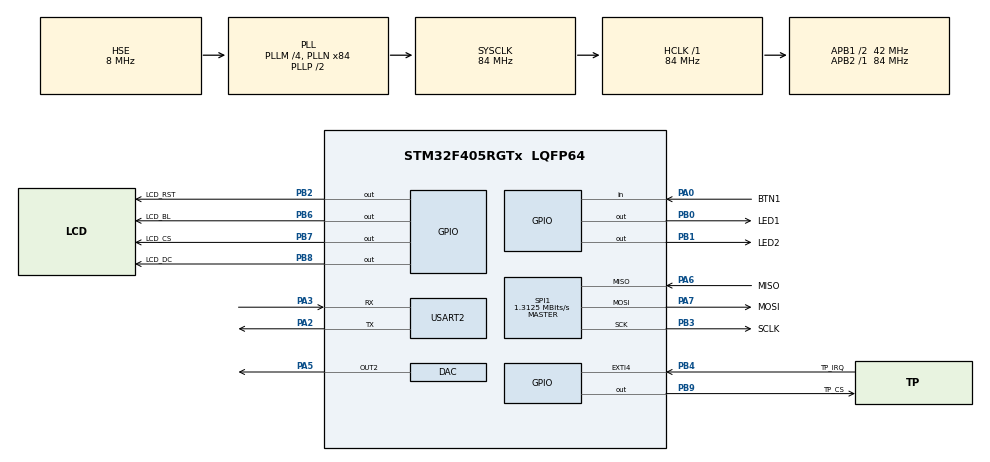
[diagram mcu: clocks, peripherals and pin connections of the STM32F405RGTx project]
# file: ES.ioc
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DAC.DAC_Trigger2=DAC_TRIGGER_NONE
Dma.Request0=SPI1_RX
Dma.Request1=SPI1_TX
Dma.SPI1_RX.0.Direction=DMA_PERIPH_TO_MEMORY
Dma.SPI1_RX.0.FIFOMode=DMA_FIFOMODE_DISABLE
Dma.SPI1_RX.0.Instance=DMA2_Stream0
Dma.SPI1_RX.0.MemDataAlignment=DMA_MDATAALIGN_BYTE
Dma.SPI1_RX.0.MemInc=DMA_MINC_ENABLE
Dma.SPI1_RX.0.Mode=DMA_NORMAL
Dma.SPI1_RX.0.PeriphDataAlignment=DMA_PDATAALIGN_BYTE
Dma.SPI1_RX.0.PeriphInc=DMA_PINC_DISABLE
Dma.SPI1_RX.0.Priority=DMA_PRIORITY_LOW
Dma.SPI1_TX.1.Direction=DMA_MEMORY_TO_PERIPH
Dma.SPI1_TX.1.FIFOMode=DMA_FIFOMODE_DISABLE
Dma.SPI1_TX.1.Instance=DMA2_Stream3
Dma.SPI1_TX.1.MemDataAlignment=DMA_MDATAALIGN_BYTE
Dma.SPI1_TX.1.MemInc=DMA_MINC_ENABLE
Dma.SPI1_TX.1.Mode=DMA_NORMAL
Dma.SPI1_TX.1.PeriphDataAlignment=DMA_PDATAALIGN_BYTE
Dma.SPI1_TX.1.PeriphInc=DMA_PINC_DISABLE
Dma.SPI1_TX.1.Priority=DMA_PRIORITY_LOW
FREERTOS.BinarySemaphores01=buttonSemaphore,Dynamic,NULL,Available;dac,Dynamic,NULL,Available
FREERTOS.Tasks01=TouchPin,24,1024,StartDefaultTask,Default,NULL,Dynamic,NULL,NULL;dac_play,24,1024,DacPlayTask,Default,NULL,Dynamic,NULL,NULL;dac_button,24,1024,DacButtonPlay,Default,NULL,Dynamic,NULL,NULL
FREERTOS.configUSE_NEWLIB_REENTRANT=1
Mcu.Family=STM32F4
Mcu.Name=STM32F405RGTx
Mcu.Package=LQFP64
NVIC.DMA2_Stream0_IRQn=true\:5\:0\:false\:false\:true\:true\:false\:true\:true
NVIC.DMA2_Stream3_IRQn=true\:5\:0\:false\:false\:true\:true\:false\:true\:true
NVIC.EXTI4_IRQn=true\:15\:0\:true\:false\:true\:false\:true\:true\:true
NVIC.PriorityGroup=NVIC_PRIORITYGROUP_4
NVIC.TIM6_DAC_IRQn=true\:15\:0\:false\:false\:true\:false\:false\:true\:true
NVIC.TimeBase=TIM6_DAC_IRQn
NVIC.TimeBaseIP=TIM6
PA0-WKUP.GPIO_Label=BTN1
PA0-WKUP.Signal=GPIO_Input
PA13.Mode=Serial_Wire
PA13.Signal=SYS_JTMS-SWDIO
PA14.Mode=Serial_Wire
PA14.Signal=SYS_JTCK-SWCLK
PA2.GPIO_PuPd=GPIO_NOPULL
PA2.Mode=Asynchronous
PA2.Signal=USART2_TX
PA3.GPIO_PuPd=GPIO_NOPULL
PA3.Mode=Asynchronous
PA3.Signal=USART2_RX
PA5.Signal=COMP_DAC2_group
PA6.GPIO_Label=MISO
PA6.GPIO_PuPd=GPIO_PULLUP
PA6.Mode=Full_Duplex_Master
PA6.Signal=SPI1_MISO
PA7.GPIO_Label=MOSI
PA7.GPIO_PuPd=GPIO_PULLUP
PA7.Mode=Full_Duplex_Master
PA7.Signal=SPI1_MOSI
PB0.GPIO_Label=LED1
PB0.Signal=GPIO_Output
PB1.GPIO_Label=LED2
PB1.Signal=GPIO_Output
PB2.GPIO_Label=LCD_RST
PB2.GPIO_Speed=GPIO_SPEED_FREQ_HIGH
PB2.PinState=GPIO_PIN_SET
PB2.Signal=GPIO_Output
PB3.GPIO_Label=SCLK
PB3.GPIO_PuPd=GPIO_PULLUP
PB3.Mode=Full_Duplex_Master
PB3.Signal=SPI1_SCK
PB4.GPIO_Label=TP_IRQ
PB4.GPIO_PuPd=GPIO_PULLUP
PB4.Signal=GPXTI4
PB6.GPIO_Label=LCD_BL
PB6.GPIO_Speed=GPIO_SPEED_FREQ_HIGH
PB6.PinState=GPIO_PIN_SET
PB6.Signal=GPIO_Output
PB7.GPIO_Label=LCD_CS
PB7.GPIO_Speed=GPIO_SPEED_FREQ_HIGH
PB7.Signal=GPIO_Output
PB8.GPIO_Label=LCD_DC
PB8.GPIO_Speed=GPIO_SPEED_FREQ_HIGH
PB8.Signal=GPIO_Output
PB9.GPIO_Label=TP_CS
PB9.GPIO_Speed=GPIO_SPEED_FREQ_HIGH
PB9.Signal=GPIO_Output
PH0-OSC_IN.Mode=HSE-External-Oscillator
PH0-OSC_IN.Signal=RCC_OSC_IN
PH1-OSC_OUT.Mode=HSE-External-Oscillator
PH1-OSC_OUT.Signal=RCC_OSC_OUT
ProjectManager.HeapSize=0x2000
ProjectManager.StackSize=0x4000
ProjectManager.TargetToolchain=STM32CubeIDE
RCC.48MHZClocksFreq_Value=42000000
RCC.AHBFreq_Value=84000000
RCC.APB1CLKDivider=RCC_HCLK_DIV2
RCC.APB1Freq_Value=42000000
RCC.APB1TimFreq_Value=84000000
RCC.APB2Freq_Value=84000000
RCC.APB2TimFreq_Value=84000000
RCC.CortexFreq_Value=84000000
RCC.HCLKFreq_Value=84000000
RCC.HSE_VALUE=8000000
RCC.HSI_VALUE=16000000
RCC.LSE_VALUE=32768
RCC.PLLM=4
RCC.PLLN=84
RCC.PLLSourceVirtual=RCC_PLLSOURCE_HSE
RCC.SYSCLKFreq_VALUE=84000000
RCC.SYSCLKSource=RCC_SYSCLKSOURCE_PLLCLK
RCC.VCOOutputFreq_Value=168000000
SH.COMP_DAC2_group.0=DAC_OUT2,DAC_OUT2
SPI1.BaudRatePrescaler=SPI_BAUDRATEPRESCALER_64
SPI1.CalculateBaudRate=1.3125 MBits/s
SPI1.Direction=SPI_DIRECTION_2LINES
SPI1.Mode=SPI_MODE_MASTER
SPI1.VirtualType=VM_MASTER
USART2.VirtualMode=VM_ASYNC
VP_FREERTOS_VS_CMSIS_V2.Mode=CMSIS_V2
VP_SYS_VS_tim6.Mode=TIM6
board=custom

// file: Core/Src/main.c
/* USER CODE BEGIN Header */
/**
 ******************************************************************************
 * @file           : main.c
 * @brief          : Main program body
 ******************************************************************************
 * @attention
 *
 * Copyright (c) 2024 STMicroelectronics.
 * All rights reserved.
 *
 * This software is licensed under terms that can be found in the LICENSE file
 * in the root directory of this software component.
 * If no LICENSE file comes with this software, it is provided AS-IS.
 *
 ******************************************************************************
 */
/* USER CODE END Header */
#include "main.h"
#include "cmsis_os.h"
#include "dac.h"
#include "dma.h"
#include "spi.h"
#include "usart.h"
#include "gpio.h"

void SystemClock_Config(void);
void MX_FREERTOS_Init(void);

int main(void)
{

  /* MCU Configuration--------------------------------------------------------*/

  /* Reset of all peripherals, Initializes the Flash interface and the Systick. */
  HAL_Init();

  /* Configure the system clock */
  SystemClock_Config();

  /* Initialize all configured peripherals */
  MX_GPIO_Init();
  MX_DMA_Init();
  MX_SPI1_Init();
  MX_USART2_UART_Init();
  MX_DAC_Init();
  /* USER CODE BEGIN 2 */
	HAL_GPIO_WritePin(GPIOA, GPIO_PIN_0, GPIO_PIN_SET);
	HAL_GPIO_WritePin(GPIOA, GPIO_PIN_1, GPIO_PIN_SET);
	HAL_GPIO_WritePin(TP_CS_GPIO_Port, TP_CS_Pin, GPIO_PIN_SET);
	ST7789_Init();
  /* USER CODE END 2 */

  /* Init scheduler */
  osKernelInitialize();

  /* Call init function for freertos objects (in cmsis_os2.c) */
  MX_FREERTOS_Init();

  /* Start scheduler */
  osKernelStart();

  /* We should never get here as control is now taken by the scheduler */

  /* Infinite loop */
	while (1) {

	}
}

void SystemClock_Config(void)
{
  RCC_OscInitTypeDef RCC_OscInitStruct = {0};
  RCC_ClkInitTypeDef RCC_ClkInitStruct = {0};

  /** Configure the main internal regulator output voltage
  */
  __HAL_RCC_PWR_CLK_ENABLE();
  __HAL_PWR_VOLTAGESCALING_CONFIG(PWR_REGULATOR_VOLTAGE_SCALE1);

  /** Initializes the RCC Oscillators according to the specified parameters
  * in the RCC_OscInitTypeDef structure.
  */
  RCC_OscInitStruct.OscillatorType = RCC_OSCILLATORTYPE_HSE;
  RCC_OscInitStruct.HSEState = RCC_HSE_ON;
  RCC_OscInitStruct.PLL.PLLState = RCC_PLL_ON;
  RCC_OscInitStruct.PLL.PLLSource = RCC_PLLSOURCE_HSE;
  RCC_OscInitStruct.PLL.PLLM = 4;
  RCC_OscInitStruct.PLL.PLLN = 84;
  RCC_OscInitStruct.PLL.PLLP = RCC_PLLP_DIV2;
  RCC_OscInitStruct.PLL.PLLQ = 4;
  if (HAL_RCC_OscConfig(&RCC_OscInitStruct) != HAL_OK)
  {
    Error_Handler();
  }

  /** Initializes the CPU, AHB and APB buses clocks
  */
  RCC_ClkInitStruct.ClockType = RCC_CLOCKTYPE_HCLK|RCC_CLOCKTYPE_SYSCLK
                              |RCC_CLOCKTYPE_PCLK1|RCC_CLOCKTYPE_PCLK2;
  RCC_ClkInitStruct.SYSCLKSource = RCC_SYSCLKSOURCE_PLLCLK;
  RCC_ClkInitStruct.AHBCLKDivider = RCC_SYSCLK_DIV1;
  RCC_ClkInitStruct.APB1CLKDivider = RCC_HCLK_DIV2;
  RCC_ClkInitStruct.APB2CLKDivider = RCC_HCLK_DIV1;

  if (HAL_RCC_ClockConfig(&RCC_ClkInitStruct, FLASH_LATENCY_2) != HAL_OK)
  {
    Error_Handler();
  }
}

void HAL_TIM_PeriodElapsedCallback(TIM_HandleTypeDef *htim)
{
  if (htim->Instance == TIM6) {
    HAL_IncTick();
  }
}

void Error_Handler(void)
{
	__disable_irq();
	while (1) {
	}
}

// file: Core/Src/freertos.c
/* USER CODE BEGIN Header */
/**
 ******************************************************************************
 * File Name          : freertos.c
 * Description        : Code for freertos applications
 ******************************************************************************
 * @attention
 *
 * Copyright (c) 2024 STMicroelectronics.
 * All rights reserved.
 *
 * This software is licensed under terms that can be found in the LICENSE file
 * in the root directory of this software component.
 * If no LICENSE file comes with this software, it is provided AS-IS.
 *
 ******************************************************************************
 */
/* USER CODE END Header */

#include "FreeRTOS.h"
#include "task.h"
#include "main.h"
#include "cmsis_os.h"

/* USER CODE BEGIN Variables */
void initScreen();
void GenerateSineWave(void);
void GenerateSineWave2(void);
extern UART_HandleTypeDef huart2;
extern DAC_HandleTypeDef hdac;

#define pi 3.14155926
#define SAMPLES 10
#define res_8b 245
#define res_12b 4096

uint16_t *sine_wave_play;
uint16_t *sine_wave;
volatile uint32_t sampleIndex = 0;

/* USER CODE END Variables */
/* Definitions for TouchPin */
osThreadId_t TouchPinHandle;
const osThreadAttr_t TouchPin_attributes = {
  .name = "TouchPin",
  .stack_size = 1024 * 4,
  .priority = (osPriority_t) osPriorityNormal,
};
/* Definitions for dac_play */
osThreadId_t dac_playHandle;
const osThreadAttr_t dac_play_attributes = {
  .name = "dac_play",
  .stack_size = 1024 * 4,
  .priority = (osPriority_t) osPriorityNormal,
};
/* Definitions for dac_button */
osThreadId_t dac_buttonHandle;
const osThreadAttr_t dac_button_attributes = {
  .name = "dac_button",
  .stack_size = 1024 * 4,
  .priority = (osPriority_t) osPriorityNormal,
};
/* Definitions for buttonSemaphore */
osSemaphoreId_t buttonSemaphoreHandle;
const osSemaphoreAttr_t buttonSemaphore_attributes = {
  .name = "buttonSemaphore"
};
/* Definitions for dac */
osSemaphoreId_t dacHandle;
const osSemaphoreAttr_t dac_attributes = {
  .name = "dac"
};

void StartDefaultTask(void *argument);
void DacPlayTask(void *argument);
void DacButtonPlay(void *argument);

void MX_FREERTOS_Init(void); /* (MISRA C 2004 rule 8.1) */

void MX_FREERTOS_Init(void) {

  /* Create the semaphores(s) */
  /* creation of buttonSemaphore */
  buttonSemaphoreHandle = osSemaphoreNew(1, 1, &buttonSemaphore_attributes);

  /* creation of dac */
  dacHandle = osSemaphoreNew(1, 1, &dac_attributes);

  /* Create the thread(s) */
  /* creation of TouchPin */
  TouchPinHandle = osThreadNew(StartDefaultTask, NULL, &TouchPin_attributes);

  /* creation of dac_play */
  dac_playHandle = osThreadNew(DacPlayTask, NULL, &dac_play_attributes);

  /* creation of dac_button */
  dac_buttonHandle = osThreadNew(DacButtonPlay, NULL, &dac_button_attributes);

}

/* USER CODE BEGIN Header_StartDefaultTask */
/**
 * @brief  Function implementing the TouchPin thread.
 * @param  argument: Not used
 * @retval None
 */

void HAL_GPIO_EXTI_Callback(uint16_t GPIO_Pin)
{
	osDelay(500);
	if (GPIO_Pin == TP_IRQ_Pin)
	{
		osSemaphoreRelease(buttonSemaphoreHandle);
		HAL_UART_Transmit(&huart2, (uint8_t *)"2\n\r", strlen("2\n\r"), 100);
	}

}

/* USER CODE END Header_StartDefaultTask */
void StartDefaultTask(void *argument)
{
  /* USER CODE BEGIN StartDefaultTask */

	initScreen();
	/* Infinite loop */
	for (;;)
	{
		osSemaphoreAcquire(buttonSemaphoreHandle, portMAX_DELAY);
		uint16_t x, y;

		if (XPT2046_TouchPressed())
		{

			if (XPT2046_TouchGetCoordinates(&x, &y))
			{
				char buffer[50];
				snprintf(buffer, sizeof(buffer), "X: %d, Y: %d\r\n", x, y);
				HAL_UART_Transmit(&huart2, (uint8_t *)buffer, strlen(buffer),
								  1000);

				if (x > 170 && x < 220 && y > 60 && y < 100)
				{
					HAL_GPIO_WritePin(LED1_GPIO_Port, LED1_Pin, GPIO_PIN_SET);
					ST7789_DrawFilledCircle(180, 90, 20, YELLOW);
				}
				else if (x > 170 && x < 220 && y > 140 && y < 180)
				{
					HAL_GPIO_WritePin(LED2_GPIO_Port, LED2_Pin, GPIO_PIN_SET);
					ST7789_DrawFilledCircle(180, 160, 20, YELLOW);
				}

				else if (x > 170 && x < 220 && y > 210 && y < 270)
				{
					HAL_GPIO_WritePin(LED2_GPIO_Port, LED2_Pin, GPIO_PIN_SET);
					HAL_GPIO_WritePin(LED1_GPIO_Port, LED1_Pin, GPIO_PIN_SET);
					ST7789_DrawFilledCircle(180, 230, 20, YELLOW);
				}
				else
				{
				}
			}
		}
		else
		{
			HAL_GPIO_WritePin(LED2_GPIO_Port, LED2_Pin, GPIO_PIN_RESET);
			HAL_GPIO_WritePin(LED1_GPIO_Port, LED1_Pin, GPIO_PIN_RESET);
			ST7789_DrawFilledCircle(180, 230, 20, RED);
			ST7789_DrawFilledCircle(180, 160, 20, RED);
			ST7789_DrawFilledCircle(180, 90, 20, RED);
		}
		osDelay(100);
	}
  /* USER CODE END StartDefaultTask */
}

void DacPlayTask(void *argument)
{
  /* USER CODE BEGIN DacPlayTask */
	HAL_DAC_Start(&hdac, DAC_CHANNEL_2);
	GenerateSineWave();
	for (;;)
	{

		HAL_DAC_SetValue(&hdac, DAC_CHANNEL_2, DAC_ALIGN_12B_R, sine_wave_play[sampleIndex]);
		if (sampleIndex >= SAMPLES)
			sampleIndex = 0;

		sampleIndex++;
		osDelay(1);
	}
  /* USER CODE END DacPlayTask */
}

void DacButtonPlay(void *argument)
{
  /* USER CODE BEGIN DacButtonPlay */
	/* Infinite loop */
	HAL_DAC_Start(&hdac, DAC_CHANNEL_2);
	GenerateSineWave2();
	for (;;)
	{
		if (HAL_GPIO_ReadPin(BTN1_GPIO_Port, BTN1_Pin) ==GPIO_PIN_RESET)
		{
			HAL_DAC_SetValue(&hdac, DAC_CHANNEL_2, DAC_ALIGN_12B_R, sine_wave[sampleIndex]);
			if (sampleIndex >= SAMPLES)
				sampleIndex = 0;

			sampleIndex++;
			osDelay(1);
		}
	}
  /* USER CODE END DacButtonPlay */
}

/* USER CODE BEGIN Application */
void initScreen()
{
	ST7789_Fill_Color(WHITE);
	ST7789_WriteString(10, 10, "Embedded HCMUS", Font_16x26, GREEN, WHITE);

	ST7789_WriteString(40, 50, "BTN1", Font_11x18, RED, WHITE);
	ST7789_DrawFilledCircle(60, 90, 20, BLUE);

	ST7789_WriteString(160, 50, "LED1", Font_11x18, RED, WHITE);
	ST7789_DrawFilledCircle(180, 90, 20, RED);

	ST7789_WriteString(40, 120, "BTN2", Font_11x18, RED, WHITE);
	ST7789_DrawFilledCircle(60, 160, 20, BLUE);

	ST7789_WriteString(160, 120, "LED2", Font_11x18, RED, WHITE);
	ST7789_DrawFilledCircle(180, 160, 20, RED);

	ST7789_WriteString(20, 190, "BTN_DUAL", Font_11x18, RED, WHITE);
	ST7789_DrawFilledCircle(60, 230, 20, BLUE);

	ST7789_WriteString(140, 190, "DUAL_LED", Font_11x18, RED, WHITE);
	ST7789_DrawFilledCircle(180, 230, 20, RED);
	ST7789_WriteString(30, 270, "20200381-21200370", Font_11x18, BLUE, WHITE);
	ST7789_WriteString(30, 290, "  Trung -  Viet", Font_11x18, BLUE, WHITE);
}
void GenerateSineWave()
{
	for (int i = 0; i < SAMPLES; i++)
	{
		sine_wave_play[i] = ((sin(i * 2 * pi / SAMPLES) + 1) * res_12b / 2);
	}
}
void GenerateSineWave2()
{
	for (int i = 0; i < SAMPLES; i++)
	{
		sine_wave[i] = ((sin(i * 2 * pi / SAMPLES) + 1) * res_8b / 2);
	}
}

/* USER CODE END Application */
